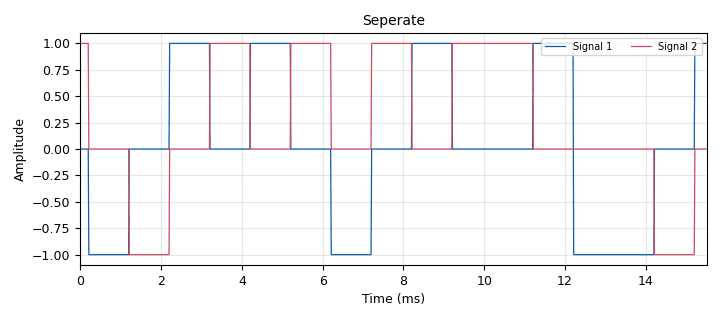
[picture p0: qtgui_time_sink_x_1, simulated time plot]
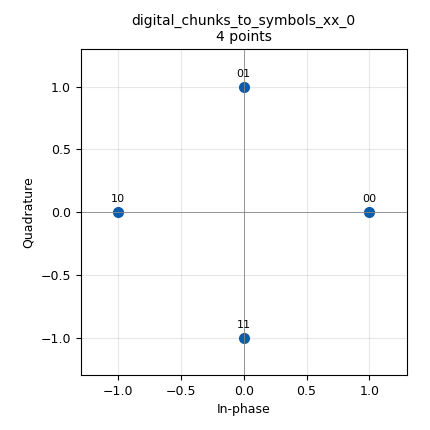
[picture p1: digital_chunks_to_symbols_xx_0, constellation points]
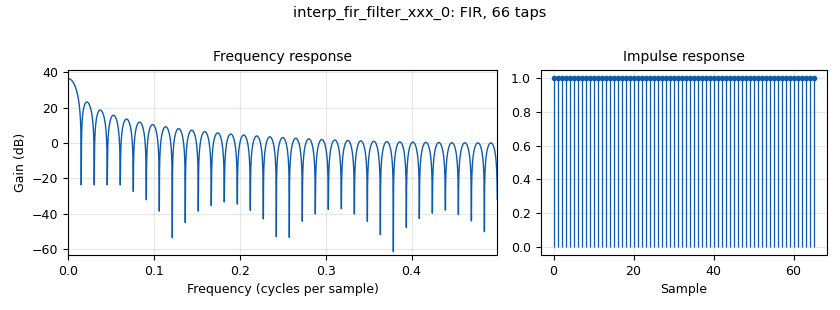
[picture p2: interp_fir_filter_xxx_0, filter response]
options:
  parameters:
    author: aruncs
    generate_options: qt_gui
    id: simple_test
    output_language: python
    title: Simple Test
  states: {}

blocks:
- name: N
  id: variable
  parameters:
    value: '4'
  states: {}
- name: delay_1
  id: variable_qtgui_range
  parameters:
    label: Delay
    start: '0'
    step: '1'
    stop: '1000'
    value: '75'
  states: {}
- name: fc
  id: variable
  parameters:
    value: int(8e3)
  states: {}
- name: lo
  id: variable
  parameters:
    value: int(2.4e9)
  states: {}
- name: pluto_lo
  id: variable
  parameters:
    value: '0'
  states: {}
- name: samp_rate
  id: variable
  parameters:
    value: '66000'
  states: {}
- name: analog_random_source_x_0
  id: analog_random_source_x
  parameters:
    max: '4'
    min: '0'
    num_samps: '1000'
    repeat: 'True'
    type: int
  states: {}
- name: analog_sig_source_x_0
  id: analog_sig_source_x
  parameters:
    amp: '1'
    freq: lo
    offset: '0'
    phase: '0'
    samp_rate: samp_rate
    type: complex
    waveform: analog.GR_COS_WAVE
  states: {}
- name: analog_sig_source_x_0_0
  id: analog_sig_source_x
  parameters:
    amp: '1.414'
    freq: lo
    offset: '0'
    phase: '0'
    samp_rate: samp_rate
    type: float
    waveform: analog.GR_COS_WAVE
  states: {}
- name: analog_sig_source_x_0_1
  id: analog_sig_source_x
  parameters:
    amp: '-1.414'
    freq: lo
    offset: '0'
    phase: '0'
    samp_rate: samp_rate
    type: float
    waveform: analog.GR_SIN_WAVE
  states: {}
- name: blocks_complex_to_float_0
  id: blocks_complex_to_float
  parameters: {}
  states: {}
- name: blocks_complex_to_real_0
  id: blocks_complex_to_real
  parameters: {}
  states: {}
- name: blocks_complex_to_real_0_0
  id: blocks_complex_to_real
  parameters: {}
  states: {}
- name: blocks_complex_to_real_1
  id: blocks_complex_to_real
  parameters: {}
  states: {}
- name: blocks_delay_0
  id: blocks_delay
  parameters:
    delay: '75'
    type: complex
  states: {}
- name: blocks_float_to_complex_0
  id: blocks_float_to_complex
  parameters: {}
  states: {}
- name: blocks_multiply_const_vxx_0
  id: blocks_multiply_const_vxx
  parameters:
    const: '5'
    type: complex
  states: {}
- name: blocks_multiply_const_vxx_1
  id: blocks_multiply_const_vxx
  parameters:
    const: '10'
    type: complex
  states: {}
- name: blocks_multiply_xx_0
  id: blocks_multiply_xx
  parameters:
    type: complex
  states: {}
- name: blocks_multiply_xx_0_0
  id: blocks_multiply_xx
  parameters:
    type: float
  states: {}
- name: blocks_multiply_xx_0_1
  id: blocks_multiply_xx
  parameters:
    type: float
  states: {}
- name: digital_chunks_to_symbols_xx_0
  id: digital_chunks_to_symbols_xx
  parameters:
    dimension: '1'
    in_type: int
    out_type: complex
    symbol_table: np.exp(1j* 2 * np.pi * np.arange(N) / N)
  states: {}
- name: iio_pluto_sink_0
  id: iio_pluto_sink
  parameters:
    attenuation1: '10'
    bandwidth: '20000000'
    buffer_size: '32768'
    cyclic: 'False'
    filter_source: '''Auto'''
    frequency: lo
    samplerate: samp_rate
    type: fc32
    uri: 192.168.2.1
  states: {}
- name: iio_pluto_source_0
  id: iio_pluto_source
  parameters:
    bandwidth: '20000000'
    bbdc: 'True'
    buffer_size: '32768'
    filter_source: '''Auto'''
    frequency: lo
    gain1: '''fast_attack'''
    quadrature: 'True'
    rfdc: 'True'
    samplerate: samp_rate*2
    type: fc32
    uri: 192.168.2.1
  states: {}
- name: import_0
  id: import
  parameters:
    imports: import numpy as np
  states: {}
- name: interp_fir_filter_xxx_0
  id: interp_fir_filter_xxx
  parameters:
    interp: samp_rate // 1000
    taps: np.ones(samp_rate // 1000)
    type: ccc
  states: {}
- name: low_pass_filter_0_0
  id: low_pass_filter
  parameters:
    cutoff_freq: samp_rate/2
    gain: '1'
    interp: '1'
    samp_rate: samp_rate
    type: interp_fir_filter_fff
    width: int(1e3)
    win: window.WIN_HAMMING
  states: {}
- name: low_pass_filter_0_0_0
  id: low_pass_filter
  parameters:
    cutoff_freq: samp_rate/2
    gain: '1'
    interp: '1'
    samp_rate: samp_rate
    type: interp_fir_filter_fff
    width: int(1e3)
    win: window.WIN_HAMMING
  states: {}
- name: qtgui_freq_sink_x_0
  id: qtgui_freq_sink_x
  parameters:
    autoscale: 'True'
    bw: samp_rate
    fc: lo
    fftsize: '1024'
    nconnections: '2'
    type: complex
  states: {}
- name: qtgui_time_sink_x_0
  id: qtgui_time_sink_x
  parameters:
    autoscale: 'True'
    name: Baseband Tx and Rx
    nconnections: '2'
    size: '1024'
    srate: samp_rate
    type: complex
  states: {}
- name: qtgui_time_sink_x_0_0
  id: qtgui_time_sink_x
  parameters:
    autoscale: 'True'
    name: Real Tx and Rx
    nconnections: '2'
    size: '1024'
    srate: samp_rate
    type: float
  states: {}
- name: qtgui_time_sink_x_1
  id: qtgui_time_sink_x
  parameters:
    autoscale: 'True'
    name: Seperate
    nconnections: '2'
    size: '1024'
    srate: samp_rate
    type: float
  states: {}
- name: qtgui_time_sink_x_2
  id: qtgui_time_sink_x
  parameters:
    nconnections: '2'
    size: '1024'
    srate: samp_rate
    type: complex
  states: {}
- name: virtual_sink_0
  id: virtual_sink
  parameters:
    stream_id: baseband
  states: {}
- name: virtual_sink_1
  id: virtual_sink
  parameters:
    stream_id: passband
  states: {}
- name: virtual_sink_2
  id: virtual_sink
  parameters:
    stream_id: rx
  states: {}
- name: virtual_sink_3
  id: virtual_sink
  parameters:
    stream_id: baseband_rx
  states: {}
- name: virtual_source_0
  id: virtual_source
  parameters:
    stream_id: baseband
  states: {}
- name: virtual_source_2
  id: virtual_source
  parameters:
    stream_id: passband
  states: {}
- name: virtual_source_3
  id: virtual_source
  parameters:
    stream_id: rx
  states: {}
- name: virtual_source_4
  id: virtual_source
  parameters:
    stream_id: baseband
  states: {}
- name: virtual_source_4_0
  id: virtual_source
  parameters:
    stream_id: baseband_rx
  states: {}

connections:
- [analog_random_source_x_0, '0', digital_chunks_to_symbols_xx_0, '0']
- [analog_sig_source_x_0, '0', blocks_multiply_xx_0, '1']
- [analog_sig_source_x_0_0, '0', blocks_multiply_xx_0_1, '1']
- [analog_sig_source_x_0_1, '0', blocks_multiply_xx_0_0, '1']
- [blocks_complex_to_float_0, '0', qtgui_time_sink_x_1, '0']
- [blocks_complex_to_float_0, '1', qtgui_time_sink_x_1, '1']
- [blocks_complex_to_real_0, '0', qtgui_time_sink_x_0_0, '0']
- [blocks_complex_to_real_0_0, '0', qtgui_time_sink_x_0_0, '1']
- [blocks_complex_to_real_1, '0', blocks_multiply_xx_0_0, '0']
- [blocks_complex_to_real_1, '0', blocks_multiply_xx_0_1, '0']
- [blocks_delay_0, '0', qtgui_time_sink_x_0, '0']
- [blocks_float_to_complex_0, '0', blocks_multiply_const_vxx_1, '0']
- [blocks_multiply_const_vxx_0, '0', blocks_complex_to_real_1, '0']
- [blocks_multiply_const_vxx_0, '0', virtual_sink_2, '0']
- [blocks_multiply_const_vxx_1, '0', virtual_sink_3, '0']
- [blocks_multiply_xx_0, '0', virtual_sink_1, '0']
- [blocks_multiply_xx_0_0, '0', low_pass_filter_0_0_0, '0']
- [blocks_multiply_xx_0_1, '0', low_pass_filter_0_0, '0']
- [digital_chunks_to_symbols_xx_0, '0', interp_fir_filter_xxx_0, '0']
- [iio_pluto_source_0, '0', blocks_multiply_const_vxx_0, '0']
- [interp_fir_filter_xxx_0, '0', blocks_complex_to_float_0, '0']
- [interp_fir_filter_xxx_0, '0', virtual_sink_0, '0']
- [low_pass_filter_0_0, '0', blocks_float_to_complex_0, '0']
- [low_pass_filter_0_0_0, '0', blocks_float_to_complex_0, '1']
- [virtual_source_0, '0', blocks_multiply_xx_0, '0']
- [virtual_source_0, '0', iio_pluto_sink_0, '0']
- [virtual_source_2, '0', qtgui_freq_sink_x_0, '0']
- [virtual_source_2, '0', qtgui_time_sink_x_2, '0']
- [virtual_source_3, '0', qtgui_freq_sink_x_0, '1']
- [virtual_source_3, '0', qtgui_time_sink_x_2, '1']
- [virtual_source_4, '0', blocks_complex_to_real_0, '0']
- [virtual_source_4, '0', blocks_delay_0, '0']
- [virtual_source_4_0, '0', blocks_complex_to_real_0_0, '0']
- [virtual_source_4_0, '0', qtgui_time_sink_x_0, '1']

metadata:
  file_format: 1
  grc_version: 3.10.11.0
